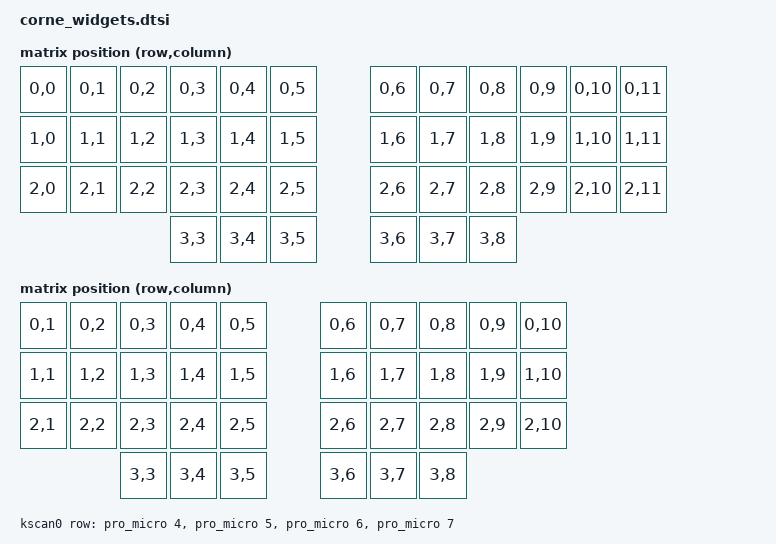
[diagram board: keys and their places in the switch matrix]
/*
 * Copyright (c) 2020 Pete Johanson
 *
 * SPDX-License-Identifier: MIT
 */

#include <dt-bindings/zmk/matrix_transform.h>

#include <layouts/foostan/corne/5column.dtsi>
#include <layouts/foostan/corne/6column.dtsi>

&foostan_corne_6col_layout {
    transform = <&default_transform>;
};

&foostan_corne_5col_layout {
    transform = <&five_column_transform>;
};

/ {
    chosen {
        zephyr,display = &oled;
        zmk,kscan = &kscan0;
        zmk,physical-layout = &foostan_corne_6col_layout;
    };

    default_transform: keymap_transform_0 {
        compatible = "zmk,matrix-transform";
        columns = <12>;
        rows = <4>;
// | SW1  | SW2  | SW3  | SW4  | SW5  | SW6  |   | SW6  | SW5  | SW4  | SW3  | SW2  | SW1  |
// | SW7  | SW8  | SW9  | SW10 | SW11 | SW12 |   | SW12 | SW11 | SW10 | SW9  | SW8  | SW7  |
// | SW13 | SW14 | SW15 | SW16 | SW17 | SW18 |   | SW18 | SW17 | SW16 | SW15 | SW14 | SW13 |
//                      | SW19 | SW20 | SW21 |   | SW21 | SW20 | SW19 |
        map = <
RC(0,0) RC(0,1) RC(0,2) RC(0,3) RC(0,4) RC(0,5)  RC(0,6) RC(0,7) RC(0,8) RC(0,9) RC(0,10) RC(0,11)
RC(1,0) RC(1,1) RC(1,2) RC(1,3) RC(1,4) RC(1,5)  RC(1,6) RC(1,7) RC(1,8) RC(1,9) RC(1,10) RC(1,11)
RC(2,0) RC(2,1) RC(2,2) RC(2,3) RC(2,4) RC(2,5)  RC(2,6) RC(2,7) RC(2,8) RC(2,9) RC(2,10) RC(2,11)
                        RC(3,3) RC(3,4) RC(3,5)  RC(3,6) RC(3,7) RC(3,8)
        >;
    };

    five_column_transform: keymap_transform_1 {
        compatible = "zmk,matrix-transform";
        columns = <10>;
        rows = <4>;
// | SW2  | SW3  | SW4  | SW5  | SW6  |   | SW6  | SW5  | SW4  | SW3  | SW2  |
// | SW8  | SW9  | SW10 | SW11 | SW12 |   | SW12 | SW11 | SW10 | SW9  | SW8  |
// | SW14 | SW15 | SW16 | SW17 | SW18 |   | SW18 | SW17 | SW16 | SW15 | SW14 |
//               | SW19 | SW20 | SW21 |   | SW21 | SW20 | SW19 |
        map = <
RC(0,1) RC(0,2) RC(0,3) RC(0,4) RC(0,5)  RC(0,6) RC(0,7) RC(0,8) RC(0,9) RC(0,10)
RC(1,1) RC(1,2) RC(1,3) RC(1,4) RC(1,5)  RC(1,6) RC(1,7) RC(1,8) RC(1,9) RC(1,10)
RC(2,1) RC(2,2) RC(2,3) RC(2,4) RC(2,5)  RC(2,6) RC(2,7) RC(2,8) RC(2,9) RC(2,10)
                        RC(3,3) RC(3,4) RC(3,5)  RC(3,6) RC(3,7) RC(3,8)
        >;
    };

    kscan0: kscan {
        compatible = "zmk,kscan-gpio-matrix";
        wakeup-source;

        diode-direction = "col2row";
        row-gpios
            = <&pro_micro 4 (GPIO_ACTIVE_HIGH | GPIO_PULL_DOWN)>
            , <&pro_micro 5 (GPIO_ACTIVE_HIGH | GPIO_PULL_DOWN)>
            , <&pro_micro 6 (GPIO_ACTIVE_HIGH | GPIO_PULL_DOWN)>
            , <&pro_micro 7 (GPIO_ACTIVE_HIGH | GPIO_PULL_DOWN)>
            ;

    };

    // TODO: per-key RGB node(s)?

    behaviors {
        /* Hold and release the matrix (0,0) key to power off both halves. */
        soft_off_plus: soft_off_plus {
            compatible = "zmk,behavior-soft-off-plus";
            #binding-cells = <0>;
            hold-time-ms = <1200>;
            trigger-on-hold;
        };
    };

    /* Row 0 is shared. Each half supplies its local column-0 GPIO in its
     * overlay because the left and right column wiring is mirrored. */
    soft_off_keys {
        compatible = "gpio-keys";

        soft_off_gpio_key: soft_off_gpio_key {
            gpios = <&pro_micro 4 (GPIO_ACTIVE_HIGH | GPIO_PULL_DOWN)>;
        };
    };

    soft_off_wakeup: soft_off_wakeup {
        compatible = "zmk,gpio-key-wakeup-trigger";
        trigger = <&soft_off_gpio_key>;
        wakeup-source;
    };

    /* Only local matrix (0,0) wakes each half from soft off. */
    soft_off_wakers {
        compatible = "zmk,soft-off-wakeup-sources";
        wakeup-sources = <&soft_off_wakeup>;
    };

    /* The same key must remain held after wake, otherwise the half returns to
     * System OFF. Each half supplies the matching strobe GPIO in its overlay. */
    soft_off_plus_wake: soft_off_plus_wake {
        compatible = "zmk,soft-off-plus-wake";
        wake-gpios = <&pro_micro 4 (GPIO_ACTIVE_HIGH | GPIO_PULL_DOWN)>;
        wake-hold-ms = <1200>;
        bypass-on-usb;
    };
};


